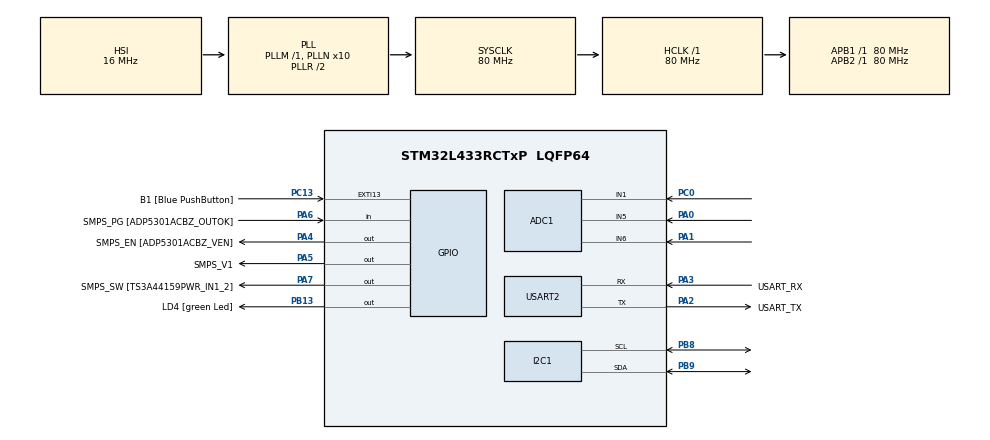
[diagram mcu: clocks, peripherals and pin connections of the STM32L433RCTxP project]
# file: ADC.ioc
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ADC1.Channel-0\#ChannelRegularConversion=ADC_CHANNEL_5
ADC1.Channel-1\#ChannelRegularConversion=ADC_CHANNEL_6
ADC1.Channel-2\#ChannelRegularConversion=ADC_CHANNEL_1
ADC1.ContinuousConvMode=ENABLE
ADC1.NbrOfConversion=3
ADC1.NbrOfConversionFlag=1
ADC1.OffsetNumber-0\#ChannelRegularConversion=ADC_OFFSET_NONE
ADC1.OffsetNumber-1\#ChannelRegularConversion=ADC_OFFSET_NONE
ADC1.OffsetNumber-2\#ChannelRegularConversion=ADC_OFFSET_NONE
ADC1.Rank-0\#ChannelRegularConversion=1
ADC1.Rank-1\#ChannelRegularConversion=2
ADC1.Rank-2\#ChannelRegularConversion=3
ADC1.SamplingTime-0\#ChannelRegularConversion=ADC_SAMPLETIME_640CYCLES_5
ADC1.SamplingTime-1\#ChannelRegularConversion=ADC_SAMPLETIME_640CYCLES_5
ADC1.SamplingTime-2\#ChannelRegularConversion=ADC_SAMPLETIME_640CYCLES_5
ADC1.master=1
I2C1.Timing=0x10D19CE4
Mcu.Family=STM32L4
Mcu.Name=STM32L433RCTxP
Mcu.Package=LQFP64
NVIC.ADC1_IRQn=true\:0\:0\:false\:false\:true\:true\:true\:true
NVIC.PriorityGroup=NVIC_PRIORITYGROUP_4
PA0.Signal=ADCx_IN5
PA1.Signal=ADCx_IN6
PA13\ (JTMS-SWDIO).GPIO_Label=TMS
PA13\ (JTMS-SWDIO).Mode=Serial_Wire
PA13\ (JTMS-SWDIO).Signal=SYS_JTMS-SWDIO
PA14\ (JTCK-SWCLK).GPIO_Label=TCK
PA14\ (JTCK-SWCLK).Mode=Serial_Wire
PA14\ (JTCK-SWCLK).Signal=SYS_JTCK-SWCLK
PA2.GPIO_Label=USART_TX
PA2.GPIO_Mode=GPIO_MODE_AF_PP
PA2.GPIO_PuPd=GPIO_NOPULL
PA2.GPIO_Speed=GPIO_SPEED_FREQ_VERY_HIGH
PA2.Mode=Asynchronous
PA2.Signal=USART2_TX
PA3.GPIO_Label=USART_RX
PA3.GPIO_Mode=GPIO_MODE_AF_PP
PA3.GPIO_PuPd=GPIO_NOPULL
PA3.GPIO_Speed=GPIO_SPEED_FREQ_VERY_HIGH
PA3.Mode=Asynchronous
PA3.Signal=USART2_RX
PA4.GPIO_Label=SMPS_EN [ADP5301ACBZ_VEN]
PA4.Signal=GPIO_Output
PA5.GPIO_Label=SMPS_V1
PA5.GPIO_ModeDefaultOutputPP=GPIO_MODE_OUTPUT_PP
PA5.GPIO_PuPd=GPIO_NOPULL
PA5.GPIO_Speed=GPIO_SPEED_FREQ_LOW
PA5.Signal=GPIO_Output
PA6.GPIO_Label=SMPS_PG [ADP5301ACBZ_OUTOK]
PA6.GPIO_PuPd=GPIO_PULLUP
PA6.Signal=GPIO_Input
PA7.GPIO_Label=SMPS_SW [TS3A44159PWR_IN1_2]
PA7.Signal=GPIO_Output
PB13.GPIO_Label=LD4 [green Led]
PB13.Signal=GPIO_Output
PB3\ (JTDO-TRACESWO).GPIO_Label=SWO
PB3\ (JTDO-TRACESWO).Signal=SYS_JTDO-SWO
PB8.Mode=I2C
PB8.Signal=I2C1_SCL
PB9.Mode=I2C
PB9.Signal=I2C1_SDA
PC0.Signal=ADCx_IN1
PC13.GPIO_Label=B1 [Blue PushButton]
PC13.GPIO_ModeDefaultEXTI=GPIO_MODE_IT_FALLING
PC13.GPIO_PuPd=GPIO_NOPULL
PC13.Signal=GPXTI13
PC14-OSC32_IN\ (PC14).Mode=LSE-External-Oscillator
PC14-OSC32_IN\ (PC14).Signal=RCC_OSC32_IN
PC15-OSC32_OUT\ (PC15).Mode=LSE-External-Oscillator
PC15-OSC32_OUT\ (PC15).Signal=RCC_OSC32_OUT
PH0-OSC_IN\ (PH0).GPIO_Label=MCO
PH0-OSC_IN\ (PH0).Mode=HSE-External-Clock-Source
PH0-OSC_IN\ (PH0).Signal=RCC_OSC_IN
PH1-OSC_OUT\ (PH1).Signal=RCC_OSC_OUT
ProjectManager.HeapSize=0x200
ProjectManager.StackSize=0x400
ProjectManager.TargetToolchain=STM32CubeIDE
RCC.ADCFreq_Value=64000000
RCC.AHBFreq_Value=80000000
RCC.APB1Freq_Value=80000000
RCC.APB1TimFreq_Value=80000000
RCC.APB2Freq_Value=80000000
RCC.APB2TimFreq_Value=80000000
RCC.CortexFreq_Value=80000000
RCC.HCLKFreq_Value=80000000
RCC.HSE_VALUE=8000000
RCC.HSI48_VALUE=48000000
RCC.HSI_VALUE=16000000
RCC.MSI_VALUE=4000000
RCC.PLLN=10
RCC.PLLSourceVirtual=RCC_PLLSOURCE_HSI
RCC.PREFETCH_ENABLE=1
RCC.SYSCLKFreq_VALUE=80000000
RCC.SYSCLKSource=RCC_SYSCLKSOURCE_PLLCLK
RCC.USBFreq_Value=64000000
RCC.VCOOutputFreq_Value=160000000
SH.ADCx_IN1.0=ADC1_IN1,IN1-Single-Ended
SH.ADCx_IN5.0=ADC1_IN5,IN5-Single-Ended
SH.ADCx_IN6.0=ADC1_IN6,IN6-Single-Ended
TIM2.Prescaler=79
USART2.VirtualMode-Asynchronous=VM_ASYNC
VP_TIM2_VS_ClockSourceINT.Mode=Internal
board=NUCLEO-L433RC-P

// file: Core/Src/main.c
/* USER CODE BEGIN Header */
/**
  ******************************************************************************
  * @file           : main.c
  * @brief          : Main program body
  ******************************************************************************
  * @attention
  *
  * Copyright (c) 2026 STMicroelectronics.
  * All rights reserved.
  *
  * This software is licensed under terms that can be found in the LICENSE file
  * in the root directory of this software component.
  * If no LICENSE file comes with this software, it is provided AS-IS.
  *
  ******************************************************************************
  */
/* USER CODE END Header */
#include "main.h"

/* USER CODE BEGIN Includes */
#include <stdio.h>
#include <string.h>
#include "lcd.h"

/* USER CODE END Includes */

ADC_HandleTypeDef hadc1;

I2C_HandleTypeDef hi2c1;

TIM_HandleTypeDef htim2;

UART_HandleTypeDef huart2;

void SystemClock_Config(void);
static void MX_GPIO_Init(void);
static void MX_USART2_UART_Init(void);
static void MX_ADC1_Init(void);
static void MX_I2C1_Init(void);
static void MX_TIM2_Init(void);

/* USER CODE BEGIN 0 */

TextLCDType lcd;
char lcd_buf[17];

#define ADC_BUF_SIZE 3
#define JOY_X_IX 0
#define JOY_Y_IX 1
#define PHOTO_IX 2

uint16_t adc_buffer[ADC_BUF_SIZE];
int adc_buf_ix = 0;

uint16_t read_one_adc_value(ADC_HandleTypeDef * hadc)
{
	HAL_ADC_Start(hadc);
	HAL_ADC_PollForConversion(hadc, 100);
	uint32_t reading = HAL_ADC_GetValue(hadc);
	HAL_ADC_Stop(hadc);
	return (uint16_t) reading;
}

float normalize_12bit(uint16_t x)
{
	return x / 4095.0f;
}

float normalize_12bit_posneg(uint16_t x)
{
	return (x / 4095.0f) * 2.0f - 1.0f;
}

/* USER CODE END 0 */

int main(void)
{

  /* MCU Configuration--------------------------------------------------------*/

  /* Reset of all peripherals, Initializes the Flash interface and the Systick. */
  HAL_Init();

  /* Configure the system clock */
  SystemClock_Config();

  /* Initialize all configured peripherals */
  MX_GPIO_Init();
  MX_USART2_UART_Init();
  MX_ADC1_Init();
  MX_I2C1_Init();
  MX_TIM2_Init();
  /* USER CODE BEGIN 2 */

  TextLCD_Init(&lcd, &hi2c1, 0x4E);

  HAL_ADC_Start_IT(&hadc1);

  /* USER CODE END 2 */

  /* Infinite loop */
  /* USER CODE BEGIN WHILE */
  while (1)
  {
	  uint16_t joy_x_raw = adc_buffer[JOY_X_IX];
	  uint16_t joy_y_raw = adc_buffer[JOY_Y_IX];
	  uint16_t photo_raw = adc_buffer[PHOTO_IX];

	  float joy_x = normalize_12bit_posneg(joy_x_raw);
	  float joy_y = normalize_12bit_posneg(joy_y_raw);
	  float photo_value = 1.0f - normalize_12bit(photo_raw);

	  sprintf(lcd_buf, "X:%+0.2f", joy_x);
	  TextLCD_Position(&lcd, 0, 0);
	  TextLCD_PutStr(&lcd, lcd_buf);

	  sprintf(lcd_buf, "Y:%+0.2f", joy_y);
	  TextLCD_Position(&lcd, 0, 1);
	  TextLCD_PutStr(&lcd, lcd_buf);

	  sprintf(lcd_buf, "L:%0.3f", photo_value);
	  TextLCD_Position(&lcd, 9, 1);
	  TextLCD_PutStr(&lcd, lcd_buf);

    /* USER CODE END WHILE */

  }
}

void SystemClock_Config(void)
{
  RCC_OscInitTypeDef RCC_OscInitStruct = {0};
  RCC_ClkInitTypeDef RCC_ClkInitStruct = {0};

  /** Configure the main internal regulator output voltage
  */
  if (HAL_PWREx_ControlVoltageScaling(PWR_REGULATOR_VOLTAGE_SCALE1) != HAL_OK)
  {
    Error_Handler();
  }

  /** Initializes the RCC Oscillators according to the specified parameters
  * in the RCC_OscInitTypeDef structure.
  */
  RCC_OscInitStruct.OscillatorType = RCC_OSCILLATORTYPE_HSI;
  RCC_OscInitStruct.HSIState = RCC_HSI_ON;
  RCC_OscInitStruct.HSICalibrationValue = RCC_HSICALIBRATION_DEFAULT;
  RCC_OscInitStruct.PLL.PLLState = RCC_PLL_ON;
  RCC_OscInitStruct.PLL.PLLSource = RCC_PLLSOURCE_HSI;
  RCC_OscInitStruct.PLL.PLLM = 1;
  RCC_OscInitStruct.PLL.PLLN = 10;
  RCC_OscInitStruct.PLL.PLLP = RCC_PLLP_DIV7;
  RCC_OscInitStruct.PLL.PLLQ = RCC_PLLQ_DIV2;
  RCC_OscInitStruct.PLL.PLLR = RCC_PLLR_DIV2;
  if (HAL_RCC_OscConfig(&RCC_OscInitStruct) != HAL_OK)
  {
    Error_Handler();
  }

  /** Initializes the CPU, AHB and APB buses clocks
  */
  RCC_ClkInitStruct.ClockType = RCC_CLOCKTYPE_HCLK|RCC_CLOCKTYPE_SYSCLK
                              |RCC_CLOCKTYPE_PCLK1|RCC_CLOCKTYPE_PCLK2;
  RCC_ClkInitStruct.SYSCLKSource = RCC_SYSCLKSOURCE_PLLCLK;
  RCC_ClkInitStruct.AHBCLKDivider = RCC_SYSCLK_DIV1;
  RCC_ClkInitStruct.APB1CLKDivider = RCC_HCLK_DIV1;
  RCC_ClkInitStruct.APB2CLKDivider = RCC_HCLK_DIV1;

  if (HAL_RCC_ClockConfig(&RCC_ClkInitStruct, FLASH_LATENCY_4) != HAL_OK)
  {
    Error_Handler();
  }
}

static void MX_ADC1_Init(void)
{

  ADC_ChannelConfTypeDef sConfig = {0};

  /** Common config
  */
  hadc1.Instance = ADC1;
  hadc1.Init.ClockPrescaler = ADC_CLOCK_ASYNC_DIV1;
  hadc1.Init.Resolution = ADC_RESOLUTION_12B;
  hadc1.Init.DataAlign = ADC_DATAALIGN_RIGHT;
  hadc1.Init.ScanConvMode = ADC_SCAN_ENABLE;
  hadc1.Init.EOCSelection = ADC_EOC_SINGLE_CONV;
  hadc1.Init.LowPowerAutoWait = DISABLE;
  hadc1.Init.ContinuousConvMode = ENABLE;
  hadc1.Init.NbrOfConversion = 3;
  hadc1.Init.DiscontinuousConvMode = DISABLE;
  hadc1.Init.ExternalTrigConv = ADC_SOFTWARE_START;
  hadc1.Init.ExternalTrigConvEdge = ADC_EXTERNALTRIGCONVEDGE_NONE;
  hadc1.Init.DMAContinuousRequests = DISABLE;
  hadc1.Init.Overrun = ADC_OVR_DATA_PRESERVED;
  hadc1.Init.OversamplingMode = DISABLE;
  if (HAL_ADC_Init(&hadc1) != HAL_OK)
  {
    Error_Handler();
  }

  /** Configure Regular Channel
  */
  sConfig.Channel = ADC_CHANNEL_5;
  sConfig.Rank = ADC_REGULAR_RANK_1;
  sConfig.SamplingTime = ADC_SAMPLETIME_640CYCLES_5;
  sConfig.SingleDiff = ADC_SINGLE_ENDED;
  sConfig.OffsetNumber = ADC_OFFSET_NONE;
  sConfig.Offset = 0;
  if (HAL_ADC_ConfigChannel(&hadc1, &sConfig) != HAL_OK)
  {
    Error_Handler();
  }

  /** Configure Regular Channel
  */
  sConfig.Channel = ADC_CHANNEL_6;
  sConfig.Rank = ADC_REGULAR_RANK_2;
  if (HAL_ADC_ConfigChannel(&hadc1, &sConfig) != HAL_OK)
  {
    Error_Handler();
  }

  /** Configure Regular Channel
  */
  sConfig.Channel = ADC_CHANNEL_1;
  sConfig.Rank = ADC_REGULAR_RANK_3;
  if (HAL_ADC_ConfigChannel(&hadc1, &sConfig) != HAL_OK)
  {
    Error_Handler();
  }

}

static void MX_I2C1_Init(void)
{

  hi2c1.Instance = I2C1;
  hi2c1.Init.Timing = 0x10D19CE4;
  hi2c1.Init.OwnAddress1 = 0;
  hi2c1.Init.AddressingMode = I2C_ADDRESSINGMODE_7BIT;
  hi2c1.Init.DualAddressMode = I2C_DUALADDRESS_DISABLE;
  hi2c1.Init.OwnAddress2 = 0;
  hi2c1.Init.OwnAddress2Masks = I2C_OA2_NOMASK;
  hi2c1.Init.GeneralCallMode = I2C_GENERALCALL_DISABLE;
  hi2c1.Init.NoStretchMode = I2C_NOSTRETCH_DISABLE;
  if (HAL_I2C_Init(&hi2c1) != HAL_OK)
  {
    Error_Handler();
  }

  /** Configure Analogue filter
  */
  if (HAL_I2CEx_ConfigAnalogFilter(&hi2c1, I2C_ANALOGFILTER_ENABLE) != HAL_OK)
  {
    Error_Handler();
  }

  /** Configure Digital filter
  */
  if (HAL_I2CEx_ConfigDigitalFilter(&hi2c1, 0) != HAL_OK)
  {
    Error_Handler();
  }

}

static void MX_TIM2_Init(void)
{

  TIM_ClockConfigTypeDef sClockSourceConfig = {0};
  TIM_MasterConfigTypeDef sMasterConfig = {0};

  htim2.Instance = TIM2;
  htim2.Init.Prescaler = 79;
  htim2.Init.CounterMode = TIM_COUNTERMODE_UP;
  htim2.Init.Period = 4294967295;
  htim2.Init.ClockDivision = TIM_CLOCKDIVISION_DIV1;
  htim2.Init.AutoReloadPreload = TIM_AUTORELOAD_PRELOAD_DISABLE;
  if (HAL_TIM_Base_Init(&htim2) != HAL_OK)
  {
    Error_Handler();
  }
  sClockSourceConfig.ClockSource = TIM_CLOCKSOURCE_INTERNAL;
  if (HAL_TIM_ConfigClockSource(&htim2, &sClockSourceConfig) != HAL_OK)
  {
    Error_Handler();
  }
  sMasterConfig.MasterOutputTrigger = TIM_TRGO_RESET;
  sMasterConfig.MasterSlaveMode = TIM_MASTERSLAVEMODE_DISABLE;
  if (HAL_TIMEx_MasterConfigSynchronization(&htim2, &sMasterConfig) != HAL_OK)
  {
    Error_Handler();
  }

}

static void MX_USART2_UART_Init(void)
{

  huart2.Instance = USART2;
  huart2.Init.BaudRate = 115200;
  huart2.Init.WordLength = UART_WORDLENGTH_8B;
  huart2.Init.StopBits = UART_STOPBITS_1;
  huart2.Init.Parity = UART_PARITY_NONE;
  huart2.Init.Mode = UART_MODE_TX_RX;
  huart2.Init.HwFlowCtl = UART_HWCONTROL_NONE;
  huart2.Init.OverSampling = UART_OVERSAMPLING_16;
  huart2.Init.OneBitSampling = UART_ONE_BIT_SAMPLE_DISABLE;
  huart2.AdvancedInit.AdvFeatureInit = UART_ADVFEATURE_NO_INIT;
  if (HAL_UART_Init(&huart2) != HAL_OK)
  {
    Error_Handler();
  }

}

static void MX_GPIO_Init(void)
{
  GPIO_InitTypeDef GPIO_InitStruct = {0};

  /* GPIO Ports Clock Enable */
  __HAL_RCC_GPIOC_CLK_ENABLE();
  __HAL_RCC_GPIOH_CLK_ENABLE();
  __HAL_RCC_GPIOA_CLK_ENABLE();
  __HAL_RCC_GPIOB_CLK_ENABLE();

  /*Configure GPIO pin Output Level */
  HAL_GPIO_WritePin(GPIOA, SMPS_EN_Pin|SMPS_V1_Pin|SMPS_SW_Pin, GPIO_PIN_RESET);

  /*Configure GPIO pin Output Level */
  HAL_GPIO_WritePin(LD4_GPIO_Port, LD4_Pin, GPIO_PIN_RESET);

  /*Configure GPIO pin : B1_Pin */
  GPIO_InitStruct.Pin = B1_Pin;
  GPIO_InitStruct.Mode = GPIO_MODE_IT_FALLING;
  GPIO_InitStruct.Pull = GPIO_NOPULL;
  HAL_GPIO_Init(B1_GPIO_Port, &GPIO_InitStruct);

  /*Configure GPIO pins : SMPS_EN_Pin SMPS_V1_Pin SMPS_SW_Pin */
  GPIO_InitStruct.Pin = SMPS_EN_Pin|SMPS_V1_Pin|SMPS_SW_Pin;
  GPIO_InitStruct.Mode = GPIO_MODE_OUTPUT_PP;
  GPIO_InitStruct.Pull = GPIO_NOPULL;
  GPIO_InitStruct.Speed = GPIO_SPEED_FREQ_LOW;
  HAL_GPIO_Init(GPIOA, &GPIO_InitStruct);

  /*Configure GPIO pin : SMPS_PG_Pin */
  GPIO_InitStruct.Pin = SMPS_PG_Pin;
  GPIO_InitStruct.Mode = GPIO_MODE_INPUT;
  GPIO_InitStruct.Pull = GPIO_PULLUP;
  HAL_GPIO_Init(SMPS_PG_GPIO_Port, &GPIO_InitStruct);

  /*Configure GPIO pin : LD4_Pin */
  GPIO_InitStruct.Pin = LD4_Pin;
  GPIO_InitStruct.Mode = GPIO_MODE_OUTPUT_PP;
  GPIO_InitStruct.Pull = GPIO_NOPULL;
  GPIO_InitStruct.Speed = GPIO_SPEED_FREQ_LOW;
  HAL_GPIO_Init(LD4_GPIO_Port, &GPIO_InitStruct);

}

/* USER CODE BEGIN 4 */

void HAL_ADC_ConvCpltCallback(ADC_HandleTypeDef *hadc)
{
	if(hadc->Instance == ADC1)
	{
		adc_buffer[adc_buf_ix] = HAL_ADC_GetValue(hadc);

		adc_buf_ix++;

		if(adc_buf_ix >= ADC_BUF_SIZE)
		{
			adc_buf_ix = 0;
		}
	}
}

/* USER CODE END 4 */

void Error_Handler(void)
{
  __disable_irq();
  while (1)
  {
  }
}
